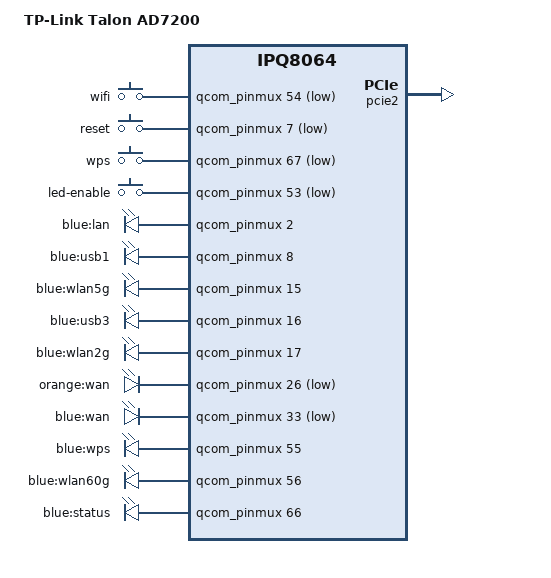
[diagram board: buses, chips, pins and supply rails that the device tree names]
// SPDX-License-Identifier: GPL-2.0-or-later OR MIT

#include "qcom-ipq8064-ad7200-c2600.dtsi"

/ {
	model = "TP-Link Talon AD7200";
	compatible = "tplink,ad7200", "qcom,ipq8064";

	aliases {
		led-boot = &led_status;
		led-failsafe = &led_status;
		led-running = &led_status;
		led-upgrade = &led_status;
	};

	keys {
		compatible = "gpio-keys";
		pinctrl-0 = <&button_pins>;
		pinctrl-names = "default";

		wifi {
			label = "wifi";
			gpios = <&qcom_pinmux 54 GPIO_ACTIVE_LOW>;
			linux,code = <KEY_RFKILL>;
			debounce-interval = <60>;
			wakeup-source;
		};

		reset {
			label = "reset";
			gpios = <&qcom_pinmux 7 GPIO_ACTIVE_LOW>;
			linux,code = <KEY_RESTART>;
			debounce-interval = <60>;
			wakeup-source;
		};

		wps {
			label = "wps";
			gpios = <&qcom_pinmux 67 GPIO_ACTIVE_LOW>;
			linux,code = <KEY_WPS_BUTTON>;
			debounce-interval = <60>;
			wakeup-source;
		};

		led_enable {
			label = "led-enable";
			gpios = <&qcom_pinmux 53 GPIO_ACTIVE_LOW>;
			linux,code = <KEY_LIGHTS_TOGGLE>;
			debounce-interval = <60>;
			wakeup-source;
		};
	};

	leds {
		compatible = "gpio-leds";
		pinctrl-0 = <&led_pins>;
		pinctrl-names = "default";

		lan {
			label = "blue:lan";
			gpios = <&qcom_pinmux 2 GPIO_ACTIVE_HIGH>;
		};

		usb1 {
			label = "blue:usb1";
			gpios = <&qcom_pinmux 8 GPIO_ACTIVE_HIGH>;
		};

		wlan5g {
			label = "blue:wlan5g";
			gpios = <&qcom_pinmux 15 GPIO_ACTIVE_HIGH>;
		};

		usb3 {
			label = "blue:usb3";
			gpios = <&qcom_pinmux 16 GPIO_ACTIVE_HIGH>;
		};

		wlan2g {
			label = "blue:wlan2g";
			gpios = <&qcom_pinmux 17 GPIO_ACTIVE_HIGH>;
		};

		wan_orange {
			label = "orange:wan";
			gpios = <&qcom_pinmux 26 GPIO_ACTIVE_LOW>;
		};

		wan_blue {
			label = "blue:wan";
			gpios = <&qcom_pinmux 33 GPIO_ACTIVE_LOW>;
		};

		wps {
			label = "blue:wps";
			gpios = <&qcom_pinmux 55 GPIO_ACTIVE_HIGH>;
		};

		wlan60g {
			label = "blue:wlan60g";
			gpios = <&qcom_pinmux 56 GPIO_ACTIVE_HIGH>;
		};

		led_status: status {
			label = "blue:status";
			gpios = <&qcom_pinmux 66 GPIO_ACTIVE_HIGH>;
		};
	};
};

&qcom_pinmux {
	button_pins: button_pins {
		mux {
			pins = "gpio53", "gpio54", "gpio67";
			function = "gpio";
			drive-strength = <2>;
			bias-pull-up;
		};
	};

	led_pins: led_pins {
		mux {
			pins = "gpio2", "gpio8", "gpio15", "gpio16", "gpio17", "gpio26",
					"gpio33", "gpio55", "gpio56", "gpio66";
			function = "gpio";
			drive-strength = <2>;
			bias-pull-up;
		};
	};
};

&pcie2 {
	status = "okay";
	max-link-speed = <1>;
};
